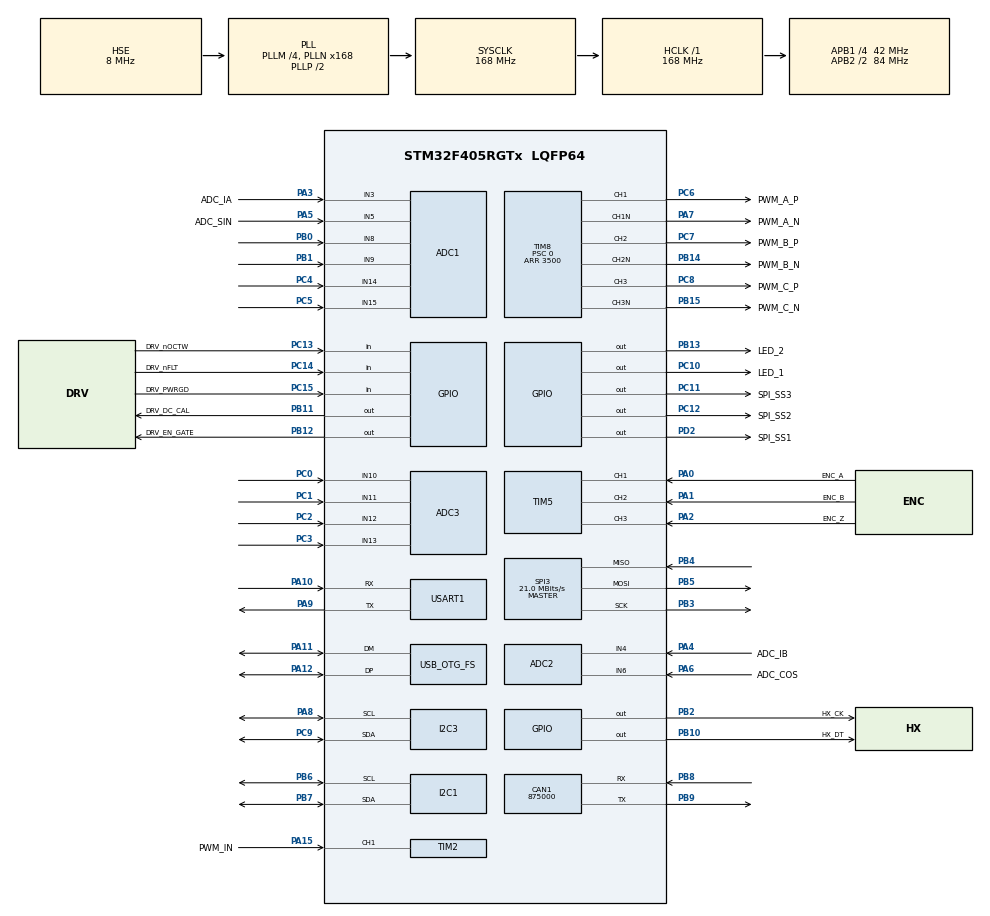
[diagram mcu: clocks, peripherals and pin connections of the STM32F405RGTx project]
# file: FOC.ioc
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ADC1.Channel-2\#ChannelRegularConversion=ADC_CHANNEL_3
ADC1.ExternalTrigConv=ADC_EXTERNALTRIGCONV_T8_TRGO
ADC1.NbrOfConversionFlag=1
ADC1.Rank-2\#ChannelRegularConversion=1
ADC1.SamplingTime-2\#ChannelRegularConversion=ADC_SAMPLETIME_3CYCLES
ADC1.master=1
ADC2.Channel-1\#ChannelRegularConversion=ADC_CHANNEL_6
ADC2.ExternalTrigConv=ADC_EXTERNALTRIGCONV_T8_TRGO
ADC2.NbrOfConversionFlag=1
ADC2.Rank-1\#ChannelRegularConversion=1
ADC2.SamplingTime-1\#ChannelRegularConversion=ADC_SAMPLETIME_3CYCLES
ADC3.Channel-1\#ChannelRegularConversion=ADC_CHANNEL_10
ADC3.NbrOfConversionFlag=1
ADC3.Rank-1\#ChannelRegularConversion=1
ADC3.SamplingTime-1\#ChannelRegularConversion=ADC_SAMPLETIME_3CYCLES
CAN1.CalculateBaudRate=875000
CAN1.CalculateTimeBit=1142
CAN1.CalculateTimeQuantum=380.95238095238096
Dma.Request0=USART1_RX
Dma.Request1=USART1_TX
Dma.USART1_RX.0.Direction=DMA_PERIPH_TO_MEMORY
Dma.USART1_RX.0.FIFOMode=DMA_FIFOMODE_DISABLE
Dma.USART1_RX.0.Instance=DMA2_Stream2
Dma.USART1_RX.0.MemDataAlignment=DMA_MDATAALIGN_BYTE
Dma.USART1_RX.0.MemInc=DMA_MINC_ENABLE
Dma.USART1_RX.0.Mode=DMA_NORMAL
Dma.USART1_RX.0.PeriphDataAlignment=DMA_PDATAALIGN_BYTE
Dma.USART1_RX.0.PeriphInc=DMA_PINC_DISABLE
Dma.USART1_RX.0.Priority=DMA_PRIORITY_LOW
Dma.USART1_TX.1.Direction=DMA_MEMORY_TO_PERIPH
Dma.USART1_TX.1.FIFOMode=DMA_FIFOMODE_DISABLE
Dma.USART1_TX.1.Instance=DMA2_Stream7
Dma.USART1_TX.1.MemDataAlignment=DMA_MDATAALIGN_BYTE
Dma.USART1_TX.1.MemInc=DMA_MINC_ENABLE
Dma.USART1_TX.1.Mode=DMA_NORMAL
Dma.USART1_TX.1.PeriphDataAlignment=DMA_PDATAALIGN_BYTE
Dma.USART1_TX.1.PeriphInc=DMA_PINC_DISABLE
Dma.USART1_TX.1.Priority=DMA_PRIORITY_LOW
Mcu.Family=STM32F4
Mcu.Name=STM32F405RGTx
Mcu.Package=LQFP64
NVIC.DMA2_Stream2_IRQn=true\:0\:0\:false\:false\:true\:false\:true\:true
NVIC.DMA2_Stream7_IRQn=true\:0\:0\:false\:false\:true\:false\:true\:true
NVIC.PriorityGroup=NVIC_PRIORITYGROUP_4
NVIC.USART1_IRQn=true\:0\:0\:false\:false\:true\:true\:true\:true
PA0-WKUP.GPIO_Label=ENC_A
PA0-WKUP.Signal=S_TIM5_CH1
PA1.GPIO_Label=ENC_B
PA1.Signal=S_TIM5_CH2
PA10.Mode=Asynchronous
PA10.Signal=USART1_RX
PA11.Mode=Device_Only
PA11.Signal=USB_OTG_FS_DM
PA12.Mode=Device_Only
PA12.Signal=USB_OTG_FS_DP
PA13.Mode=Serial_Wire
PA13.Signal=SYS_JTMS-SWDIO
PA14.Mode=Serial_Wire
PA14.Signal=SYS_JTCK-SWCLK
PA15.GPIO_Label=PWM_IN
PA15.Signal=S_TIM2_CH1_ETR
PA2.GPIO_Label=ENC_Z
PA2.Signal=S_TIM5_CH3
PA3.GPIO_Label=ADC_IA
PA3.Signal=ADCx_IN3
PA4.GPIO_Label=ADC_IB
PA4.Signal=ADCx_IN4
PA5.GPIO_Label=ADC_SIN
PA5.Signal=ADCx_IN5
PA6.GPIO_Label=ADC_COS
PA6.Signal=ADCx_IN6
PA7.GPIO_Label=PWM_A_N
PA7.Mode=PWM Generation1 CH1 CH1N
PA7.Signal=TIM8_CH1N
PA8.GPIO_Pu=GPIO_PULLUP
PA8.Mode=I2C
PA8.Signal=I2C3_SCL
PA9.Mode=Asynchronous
PA9.Signal=USART1_TX
PB0.Signal=ADCx_IN8
PB1.Signal=ADCx_IN9
PB10.GPIO_Label=HX_DT
PB10.Signal=GPIO_Output
PB11.GPIO_Label=DRV_DC_CAL
PB11.Signal=GPIO_Output
PB12.GPIO_Label=DRV_EN_GATE
PB12.Signal=GPIO_Output
PB13.GPIO_Label=LED_2
PB13.Signal=GPIO_Output
PB14.GPIO_Label=PWM_B_N
PB14.Mode=PWM Generation2 CH2 CH2N
PB14.Signal=TIM8_CH2N
PB15.GPIO_Label=PWM_C_N
PB15.Mode=PWM Generation3 CH3 CH3N
PB15.Signal=TIM8_CH3N
PB2.GPIO_Label=HX_CK
PB2.Signal=GPIO_Output
PB3.Mode=Full_Duplex_Master
PB3.Signal=SPI3_SCK
PB4.Mode=Full_Duplex_Master
PB4.Signal=SPI3_MISO
PB5.Mode=Full_Duplex_Master
PB5.Signal=SPI3_MOSI
PB6.GPIO_Pu=GPIO_PULLUP
PB6.Mode=I2C
PB6.Signal=I2C1_SCL
PB7.GPIO_Pu=GPIO_PULLUP
PB7.Mode=I2C
PB7.Signal=I2C1_SDA
PB8.Mode=CAN_Activate
PB8.Signal=CAN1_RX
PB9.Mode=CAN_Activate
PB9.Signal=CAN1_TX
PC0.Signal=ADCx_IN10
PC1.Signal=ADCx_IN11
PC10.GPIO_Label=LED_1
PC10.Signal=GPIO_Output
PC11.GPIO_Label=SPI_SS3
PC11.Signal=GPIO_Output
PC12.GPIO_Label=SPI_SS2
PC12.Signal=GPIO_Output
PC13-ANTI_TAMP.GPIO_Label=DRV_nOCTW
PC13-ANTI_TAMP.Signal=GPIO_Input
PC14-OSC32_IN.GPIO_Label=DRV_nFLT
PC14-OSC32_IN.Signal=GPIO_Input
PC15-OSC32_OUT.GPIO_Label=DRV_PWRGD
PC15-OSC32_OUT.Signal=GPIO_Input
PC2.Signal=ADCx_IN12
PC3.Signal=ADCx_IN13
PC4.Signal=ADCx_IN14
PC5.Signal=ADCx_IN15
PC6.GPIO_Label=PWM_A_P
PC6.Signal=S_TIM8_CH1
PC7.GPIO_Label=PWM_B_P
PC7.Signal=S_TIM8_CH2
PC8.GPIO_Label=PWM_C_P
PC8.Signal=S_TIM8_CH3
PC9.GPIO_Pu=GPIO_PULLUP
PC9.Mode=I2C
PC9.Signal=I2C3_SDA
PD2.GPIO_Label=SPI_SS1
PD2.Signal=GPIO_Output
PH0-OSC_IN.Mode=HSE-External-Oscillator
PH0-OSC_IN.Signal=RCC_OSC_IN
PH1-OSC_OUT.Mode=HSE-External-Oscillator
PH1-OSC_OUT.Signal=RCC_OSC_OUT
ProjectManager.HeapSize=0x200
ProjectManager.StackSize=0x400
ProjectManager.TargetToolchain=STM32CubeIDE
RCC.48MHZClocksFreq_Value=48000000
RCC.AHBFreq_Value=168000000
RCC.APB1CLKDivider=RCC_HCLK_DIV4
RCC.APB1Freq_Value=42000000
RCC.APB1TimFreq_Value=84000000
RCC.APB2CLKDivider=RCC_HCLK_DIV2
RCC.APB2Freq_Value=84000000
RCC.APB2TimFreq_Value=168000000
RCC.CortexFreq_Value=168000000
RCC.HCLKFreq_Value=168000000
RCC.HSE_VALUE=8000000
RCC.HSI_VALUE=16000000
RCC.LSE_VALUE=32768
RCC.PLLM=4
RCC.PLLN=168
RCC.PLLQ=7
RCC.SYSCLKFreq_VALUE=168000000
RCC.SYSCLKSource=RCC_SYSCLKSOURCE_PLLCLK
RCC.VCOOutputFreq_Value=336000000
SH.ADCx_IN10.0=ADC3_IN10,IN10
SH.ADCx_IN11.0=ADC3_IN11,IN11
SH.ADCx_IN12.0=ADC3_IN12,IN12
SH.ADCx_IN13.0=ADC3_IN13,IN13
SH.ADCx_IN14.0=ADC1_IN14,IN14
SH.ADCx_IN15.0=ADC1_IN15,IN15
SH.ADCx_IN3.0=ADC1_IN3,IN3
SH.ADCx_IN4.0=ADC2_IN4,IN4
SH.ADCx_IN5.0=ADC1_IN5,IN5
SH.ADCx_IN6.0=ADC2_IN6,IN6
SH.ADCx_IN8.0=ADC1_IN8,IN8
SH.ADCx_IN9.0=ADC1_IN9,IN9
SH.S_TIM2_CH1_ETR.0=TIM2_CH1,Input_Capture1_from_TI1
SH.S_TIM5_CH1.0=TIM5_CH1,Xored_Inputs_Hall_Sensor_Interface
SH.S_TIM5_CH2.0=TIM5_CH2,Xored_Inputs_Hall_Sensor_Interface
SH.S_TIM5_CH3.0=TIM5_CH3,Xored_Inputs_Hall_Sensor_Interface
SH.S_TIM8_CH1.0=TIM8_CH1,PWM Generation1 CH1 CH1N
SH.S_TIM8_CH2.0=TIM8_CH2,PWM Generation2 CH2 CH2N
SH.S_TIM8_CH3.0=TIM8_CH3,PWM Generation3 CH3 CH3N
SPI3.CalculateBaudRate=21.0 MBits/s
SPI3.Direction=SPI_DIRECTION_2LINES
SPI3.Mode=SPI_MODE_MASTER
SPI3.VirtualType=VM_MASTER
TIM2.Channel-Input_Capture1_from_TI1=TIM_CHANNEL_1
TIM2.Period=3500
TIM2.Prescaler=240
TIM6.Period=4999
TIM6.Prescaler=83
TIM6.TIM_MasterOutputTrigger=TIM_TRGO_ENABLE
TIM8.Channel-PWM\ Generation1\ CH1\ CH1N=TIM_CHANNEL_1
TIM8.Channel-PWM\ Generation2\ CH2\ CH2N=TIM_CHANNEL_2
TIM8.Channel-PWM\ Generation3\ CH3\ CH3N=TIM_CHANNEL_3
TIM8.CounterMode=TIM_COUNTERMODE_CENTERALIGNED3
TIM8.OCMode_PWM-PWM\ Generation1\ CH1\ CH1N=TIM_OCMODE_PWM2
TIM8.OCMode_PWM-PWM\ Generation2\ CH2\ CH2N=TIM_OCMODE_PWM2
TIM8.OCMode_PWM-PWM\ Generation3\ CH3\ CH3N=TIM_OCMODE_PWM2
TIM8.Period=3500
TIM8.Prescaler=0
TIM8.RepetitionCounter=2
TIM8.TIM_MasterOutputTrigger=TIM_TRGO_UPDATE
TIM8.TIM_MasterSlaveMode=TIM_MASTERSLAVEMODE_ENABLE
USART1.VirtualMode=VM_ASYNC
USB_OTG_FS.VirtualMode=Device_Only
VP_TIM1_VS_ClockSourceINT.Mode=Internal
VP_TIM2_VS_ClockSourceINT.Mode=Internal
VP_TIM6_VS_ClockSourceINT.Mode=Enable_Timer
VP_TIM8_VS_ClockSourceINT.Mode=Internal
board=custom

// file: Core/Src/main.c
/* USER CODE BEGIN Header */
/**
 ******************************************************************************
 * @file           : main.c
 * @brief          : Main program body
 ******************************************************************************
 * @attention
 *
 * <h2><center>&copy; Copyright (c) 2024 STMicroelectronics.
 * All rights reserved.</center></h2>
 *
 * This software component is licensed by ST under BSD 3-Clause license,
 * the "License"; You may not use this file except in compliance with the
 * License. You may obtain a copy of the License at:
 *                        opensource.org/licenses/BSD-3-Clause
 *
 ******************************************************************************
 */
/* USER CODE END Header */
#include "main.h"

ADC_HandleTypeDef hadc1;
ADC_HandleTypeDef hadc2;
ADC_HandleTypeDef hadc3;

CAN_HandleTypeDef hcan1;

I2C_HandleTypeDef hi2c1;
I2C_HandleTypeDef hi2c3;

SPI_HandleTypeDef hspi3;

TIM_HandleTypeDef htim1;
TIM_HandleTypeDef htim2;
TIM_HandleTypeDef htim5;
TIM_HandleTypeDef htim6;
TIM_HandleTypeDef htim8;

UART_HandleTypeDef huart1;
DMA_HandleTypeDef hdma_usart1_rx;
DMA_HandleTypeDef hdma_usart1_tx;

PCD_HandleTypeDef hpcd_USB_OTG_FS;

void SystemClock_Config(void);
static void MX_GPIO_Init(void);
static void MX_DMA_Init(void);
static void MX_TIM1_Init(void);
static void MX_ADC1_Init(void);
static void MX_ADC2_Init(void);
static void MX_ADC3_Init(void);
static void MX_CAN1_Init(void);
static void MX_I2C1_Init(void);
static void MX_I2C3_Init(void);
static void MX_SPI3_Init(void);
static void MX_TIM2_Init(void);
static void MX_TIM5_Init(void);
static void MX_TIM8_Init(void);
static void MX_USART1_UART_Init(void);
static void MX_USB_OTG_FS_PCD_Init(void);
static void MX_TIM6_Init(void);

int main(void)
{

  /* USER CODE BEGIN 1 */
	//PC 13 WAS CONFIGURED AS GPIO INPUT (DRV_nOCTW) CHANGED TO BE USED  FOR TESTING
  /* USER CODE END 1 */

  /* MCU Configuration--------------------------------------------------------*/

  /* Reset of all peripherals, Initializes the Flash interface and the Systick. */
  HAL_Init();

  /* Configure the system clock */
  SystemClock_Config();

  /* Initialize all configured peripherals */
  MX_GPIO_Init();
  MX_DMA_Init();
  MX_TIM1_Init();
  MX_ADC1_Init();
  MX_ADC2_Init();
  MX_ADC3_Init();
  MX_CAN1_Init();
  MX_I2C1_Init();
  MX_I2C3_Init();
  MX_SPI3_Init();
  MX_TIM2_Init();
  MX_TIM5_Init();
  MX_TIM8_Init();
  MX_USART1_UART_Init();
  MX_USB_OTG_FS_PCD_Init();
  MX_TIM6_Init();
  /* USER CODE BEGIN 2 */
	/* Start PWM channels and their complementary outputs */
		if (HAL_TIM_PWM_Start(&htim8, TIM_CHANNEL_1) != HAL_OK) { Error_Handler(); }
		if (HAL_TIMEx_PWMN_Start(&htim8, TIM_CHANNEL_1) != HAL_OK) { Error_Handler(); }

		if (HAL_TIM_PWM_Start(&htim8, TIM_CHANNEL_2) != HAL_OK) { Error_Handler(); }
		if (HAL_TIMEx_PWMN_Start(&htim8, TIM_CHANNEL_2) != HAL_OK) { Error_Handler(); }

		if (HAL_TIM_PWM_Start(&htim8, TIM_CHANNEL_3) != HAL_OK) { Error_Handler(); }
		if (HAL_TIMEx_PWMN_Start(&htim8, TIM_CHANNEL_3) != HAL_OK) { Error_Handler(); }

		if (HAL_TIM_PWM_Start(&htim2, TIM_CHANNEL_1) != HAL_OK) { Error_Handler(); }
		/* Example FOC loop - update PWM duty cycles */
		uint32_t dutyA = 500;
		uint32_t dutyB = 500;
		uint32_t dutyC = 500;
  /* USER CODE END 2 */

  /* Infinite loop */
	while (1)
	{

    /* USER CODE BEGIN 3 */

		dutyA = (dutyA ) % 1000;
		dutyB = (dutyB ) % 1000;
		dutyC = (dutyC ) % 1000;

		/* Update PWM compare registers */
		__HAL_TIM_SET_COMPARE(&htim8, TIM_CHANNEL_1, dutyA);
		__HAL_TIM_SET_COMPARE(&htim8, TIM_CHANNEL_2, dutyB);
		__HAL_TIM_SET_COMPARE(&htim8, TIM_CHANNEL_3, dutyC);

	}
  /* USER CODE END 3 */
}

void SystemClock_Config(void)
{
  RCC_OscInitTypeDef RCC_OscInitStruct = {0};
  RCC_ClkInitTypeDef RCC_ClkInitStruct = {0};

  /** Configure the main internal regulator output voltage
  */
  __HAL_RCC_PWR_CLK_ENABLE();
  __HAL_PWR_VOLTAGESCALING_CONFIG(PWR_REGULATOR_VOLTAGE_SCALE1);

  /** Initializes the RCC Oscillators according to the specified parameters
  * in the RCC_OscInitTypeDef structure.
  */
  RCC_OscInitStruct.OscillatorType = RCC_OSCILLATORTYPE_HSE;
  RCC_OscInitStruct.HSEState = RCC_HSE_ON;
  RCC_OscInitStruct.PLL.PLLState = RCC_PLL_ON;
  RCC_OscInitStruct.PLL.PLLSource = RCC_PLLSOURCE_HSE;
  RCC_OscInitStruct.PLL.PLLM = 4;
  RCC_OscInitStruct.PLL.PLLN = 168;
  RCC_OscInitStruct.PLL.PLLP = RCC_PLLP_DIV2;
  RCC_OscInitStruct.PLL.PLLQ = 7;
  if (HAL_RCC_OscConfig(&RCC_OscInitStruct) != HAL_OK)
  {
    Error_Handler();
  }

  /** Initializes the CPU, AHB and APB buses clocks
  */
  RCC_ClkInitStruct.ClockType = RCC_CLOCKTYPE_HCLK|RCC_CLOCKTYPE_SYSCLK
                              |RCC_CLOCKTYPE_PCLK1|RCC_CLOCKTYPE_PCLK2;
  RCC_ClkInitStruct.SYSCLKSource = RCC_SYSCLKSOURCE_PLLCLK;
  RCC_ClkInitStruct.AHBCLKDivider = RCC_SYSCLK_DIV1;
  RCC_ClkInitStruct.APB1CLKDivider = RCC_HCLK_DIV4;
  RCC_ClkInitStruct.APB2CLKDivider = RCC_HCLK_DIV2;

  if (HAL_RCC_ClockConfig(&RCC_ClkInitStruct, FLASH_LATENCY_5) != HAL_OK)
  {
    Error_Handler();
  }
}

static void MX_ADC1_Init(void)
{

  ADC_ChannelConfTypeDef sConfig = {0};

  /** Configure the global features of the ADC (Clock, Resolution, Data Alignment and number of conversion)
  */
  hadc1.Instance = ADC1;
  hadc1.Init.ClockPrescaler = ADC_CLOCK_SYNC_PCLK_DIV4;
  hadc1.Init.Resolution = ADC_RESOLUTION_12B;
  hadc1.Init.ScanConvMode = DISABLE;
  hadc1.Init.ContinuousConvMode = DISABLE;
  hadc1.Init.DiscontinuousConvMode = DISABLE;
  hadc1.Init.ExternalTrigConvEdge = ADC_EXTERNALTRIGCONVEDGE_RISING;
  hadc1.Init.ExternalTrigConv = ADC_EXTERNALTRIGCONV_T8_TRGO;
  hadc1.Init.DataAlign = ADC_DATAALIGN_RIGHT;
  hadc1.Init.NbrOfConversion = 1;
  hadc1.Init.DMAContinuousRequests = DISABLE;
  hadc1.Init.EOCSelection = ADC_EOC_SINGLE_CONV;
  if (HAL_ADC_Init(&hadc1) != HAL_OK)
  {
    Error_Handler();
  }

  /** Configure for the selected ADC regular channel its corresponding rank in the sequencer and its sample time.
  */
  sConfig.Channel = ADC_CHANNEL_3;
  sConfig.Rank = 1;
  sConfig.SamplingTime = ADC_SAMPLETIME_3CYCLES;
  if (HAL_ADC_ConfigChannel(&hadc1, &sConfig) != HAL_OK)
  {
    Error_Handler();
  }

}

static void MX_ADC2_Init(void)
{

  ADC_ChannelConfTypeDef sConfig = {0};

  /** Configure the global features of the ADC (Clock, Resolution, Data Alignment and number of conversion)
  */
  hadc2.Instance = ADC2;
  hadc2.Init.ClockPrescaler = ADC_CLOCK_SYNC_PCLK_DIV4;
  hadc2.Init.Resolution = ADC_RESOLUTION_12B;
  hadc2.Init.ScanConvMode = DISABLE;
  hadc2.Init.ContinuousConvMode = DISABLE;
  hadc2.Init.DiscontinuousConvMode = DISABLE;
  hadc2.Init.ExternalTrigConvEdge = ADC_EXTERNALTRIGCONVEDGE_RISING;
  hadc2.Init.ExternalTrigConv = ADC_EXTERNALTRIGCONV_T8_TRGO;
  hadc2.Init.DataAlign = ADC_DATAALIGN_RIGHT;
  hadc2.Init.NbrOfConversion = 1;
  hadc2.Init.DMAContinuousRequests = DISABLE;
  hadc2.Init.EOCSelection = ADC_EOC_SINGLE_CONV;
  if (HAL_ADC_Init(&hadc2) != HAL_OK)
  {
    Error_Handler();
  }

  /** Configure for the selected ADC regular channel its corresponding rank in the sequencer and its sample time.
  */
  sConfig.Channel = ADC_CHANNEL_6;
  sConfig.Rank = 1;
  sConfig.SamplingTime = ADC_SAMPLETIME_3CYCLES;
  if (HAL_ADC_ConfigChannel(&hadc2, &sConfig) != HAL_OK)
  {
    Error_Handler();
  }

}

static void MX_ADC3_Init(void)
{

  ADC_ChannelConfTypeDef sConfig = {0};

  /** Configure the global features of the ADC (Clock, Resolution, Data Alignment and number of conversion)
  */
  hadc3.Instance = ADC3;
  hadc3.Init.ClockPrescaler = ADC_CLOCK_SYNC_PCLK_DIV4;
  hadc3.Init.Resolution = ADC_RESOLUTION_12B;
  hadc3.Init.ScanConvMode = DISABLE;
  hadc3.Init.ContinuousConvMode = DISABLE;
  hadc3.Init.DiscontinuousConvMode = DISABLE;
  hadc3.Init.ExternalTrigConvEdge = ADC_EXTERNALTRIGCONVEDGE_NONE;
  hadc3.Init.ExternalTrigConv = ADC_SOFTWARE_START;
  hadc3.Init.DataAlign = ADC_DATAALIGN_RIGHT;
  hadc3.Init.NbrOfConversion = 1;
  hadc3.Init.DMAContinuousRequests = DISABLE;
  hadc3.Init.EOCSelection = ADC_EOC_SINGLE_CONV;
  if (HAL_ADC_Init(&hadc3) != HAL_OK)
  {
    Error_Handler();
  }

  /** Configure for the selected ADC regular channel its corresponding rank in the sequencer and its sample time.
  */
  sConfig.Channel = ADC_CHANNEL_10;
  sConfig.Rank = 1;
  sConfig.SamplingTime = ADC_SAMPLETIME_3CYCLES;
  if (HAL_ADC_ConfigChannel(&hadc3, &sConfig) != HAL_OK)
  {
    Error_Handler();
  }

}

static void MX_CAN1_Init(void)
{

  hcan1.Instance = CAN1;
  hcan1.Init.Prescaler = 16;
  hcan1.Init.Mode = CAN_MODE_NORMAL;
  hcan1.Init.SyncJumpWidth = CAN_SJW_1TQ;
  hcan1.Init.TimeSeg1 = CAN_BS1_1TQ;
  hcan1.Init.TimeSeg2 = CAN_BS2_1TQ;
  hcan1.Init.TimeTriggeredMode = DISABLE;
  hcan1.Init.AutoBusOff = DISABLE;
  hcan1.Init.AutoWakeUp = DISABLE;
  hcan1.Init.AutoRetransmission = DISABLE;
  hcan1.Init.ReceiveFifoLocked = DISABLE;
  hcan1.Init.TransmitFifoPriority = DISABLE;
  if (HAL_CAN_Init(&hcan1) != HAL_OK)
  {
    Error_Handler();
  }

}

static void MX_I2C1_Init(void)
{

  hi2c1.Instance = I2C1;
  hi2c1.Init.ClockSpeed = 100000;
  hi2c1.Init.DutyCycle = I2C_DUTYCYCLE_2;
  hi2c1.Init.OwnAddress1 = 0;
  hi2c1.Init.AddressingMode = I2C_ADDRESSINGMODE_7BIT;
  hi2c1.Init.DualAddressMode = I2C_DUALADDRESS_DISABLE;
  hi2c1.Init.OwnAddress2 = 0;
  hi2c1.Init.GeneralCallMode = I2C_GENERALCALL_DISABLE;
  hi2c1.Init.NoStretchMode = I2C_NOSTRETCH_DISABLE;
  if (HAL_I2C_Init(&hi2c1) != HAL_OK)
  {
    Error_Handler();
  }

}

static void MX_I2C3_Init(void)
{

  hi2c3.Instance = I2C3;
  hi2c3.Init.ClockSpeed = 100000;
  hi2c3.Init.DutyCycle = I2C_DUTYCYCLE_2;
  hi2c3.Init.OwnAddress1 = 0;
  hi2c3.Init.AddressingMode = I2C_ADDRESSINGMODE_7BIT;
  hi2c3.Init.DualAddressMode = I2C_DUALADDRESS_DISABLE;
  hi2c3.Init.OwnAddress2 = 0;
  hi2c3.Init.GeneralCallMode = I2C_GENERALCALL_DISABLE;
  hi2c3.Init.NoStretchMode = I2C_NOSTRETCH_DISABLE;
  if (HAL_I2C_Init(&hi2c3) != HAL_OK)
  {
    Error_Handler();
  }

}

static void MX_SPI3_Init(void)
{

  /* SPI3 parameter configuration*/
  hspi3.Instance = SPI3;
  hspi3.Init.Mode = SPI_MODE_MASTER;
  hspi3.Init.Direction = SPI_DIRECTION_2LINES;
  hspi3.Init.DataSize = SPI_DATASIZE_8BIT;
  hspi3.Init.CLKPolarity = SPI_POLARITY_LOW;
  hspi3.Init.CLKPhase = SPI_PHASE_1EDGE;
  hspi3.Init.NSS = SPI_NSS_SOFT;
  hspi3.Init.BaudRatePrescaler = SPI_BAUDRATEPRESCALER_2;
  hspi3.Init.FirstBit = SPI_FIRSTBIT_MSB;
  hspi3.Init.TIMode = SPI_TIMODE_DISABLE;
  hspi3.Init.CRCCalculation = SPI_CRCCALCULATION_DISABLE;
  hspi3.Init.CRCPolynomial = 10;
  if (HAL_SPI_Init(&hspi3) != HAL_OK)
  {
    Error_Handler();
  }

}

static void MX_TIM1_Init(void)
{

  TIM_ClockConfigTypeDef sClockSourceConfig = {0};
  TIM_MasterConfigTypeDef sMasterConfig = {0};

  htim1.Instance = TIM1;
  htim1.Init.Prescaler = 0;
  htim1.Init.CounterMode = TIM_COUNTERMODE_UP;
  htim1.Init.Period = 65535;
  htim1.Init.ClockDivision = TIM_CLOCKDIVISION_DIV1;
  htim1.Init.RepetitionCounter = 0;
  htim1.Init.AutoReloadPreload = TIM_AUTORELOAD_PRELOAD_DISABLE;
  if (HAL_TIM_Base_Init(&htim1) != HAL_OK)
  {
    Error_Handler();
  }
  sClockSourceConfig.ClockSource = TIM_CLOCKSOURCE_INTERNAL;
  if (HAL_TIM_ConfigClockSource(&htim1, &sClockSourceConfig) != HAL_OK)
  {
    Error_Handler();
  }
  sMasterConfig.MasterOutputTrigger = TIM_TRGO_RESET;
  sMasterConfig.MasterSlaveMode = TIM_MASTERSLAVEMODE_DISABLE;
  if (HAL_TIMEx_MasterConfigSynchronization(&htim1, &sMasterConfig) != HAL_OK)
  {
    Error_Handler();
  }

}

static void MX_TIM2_Init(void)
{

  TIM_ClockConfigTypeDef sClockSourceConfig = {0};
  TIM_MasterConfigTypeDef sMasterConfig = {0};
  TIM_IC_InitTypeDef sConfigIC = {0};

  htim2.Instance = TIM2;
  htim2.Init.Prescaler = 240;
  htim2.Init.CounterMode = TIM_COUNTERMODE_UP;
  htim2.Init.Period = 3500;
  htim2.Init.ClockDivision = TIM_CLOCKDIVISION_DIV1;
  htim2.Init.AutoReloadPreload = TIM_AUTORELOAD_PRELOAD_DISABLE;
  if (HAL_TIM_Base_Init(&htim2) != HAL_OK)
  {
    Error_Handler();
  }
  sClockSourceConfig.ClockSource = TIM_CLOCKSOURCE_INTERNAL;
  if (HAL_TIM_ConfigClockSource(&htim2, &sClockSourceConfig) != HAL_OK)
  {
    Error_Handler();
  }
  if (HAL_TIM_IC_Init(&htim2) != HAL_OK)
  {
    Error_Handler();
  }
  sMasterConfig.MasterOutputTrigger = TIM_TRGO_RESET;
  sMasterConfig.MasterSlaveMode = TIM_MASTERSLAVEMODE_DISABLE;
  if (HAL_TIMEx_MasterConfigSynchronization(&htim2, &sMasterConfig) != HAL_OK)
  {
    Error_Handler();
  }
  sConfigIC.ICPolarity = TIM_INPUTCHANNELPOLARITY_RISING;
  sConfigIC.ICSelection = TIM_ICSELECTION_DIRECTTI;
  sConfigIC.ICPrescaler = TIM_ICPSC_DIV1;
  sConfigIC.ICFilter = 0;
  if (HAL_TIM_IC_ConfigChannel(&htim2, &sConfigIC, TIM_CHANNEL_1) != HAL_OK)
  {
    Error_Handler();
  }

}

static void MX_TIM5_Init(void)
{

  TIM_HallSensor_InitTypeDef sConfig = {0};
  TIM_MasterConfigTypeDef sMasterConfig = {0};

  htim5.Instance = TIM5;
  htim5.Init.Prescaler = 0;
  htim5.Init.CounterMode = TIM_COUNTERMODE_UP;
  htim5.Init.Period = 4294967295;
  htim5.Init.ClockDivision = TIM_CLOCKDIVISION_DIV1;
  htim5.Init.AutoReloadPreload = TIM_AUTORELOAD_PRELOAD_DISABLE;
  sConfig.IC1Polarity = TIM_ICPOLARITY_RISING;
  sConfig.IC1Prescaler = TIM_ICPSC_DIV1;
  sConfig.IC1Filter = 0;
  sConfig.Commutation_Delay = 0;
  if (HAL_TIMEx_HallSensor_Init(&htim5, &sConfig) != HAL_OK)
  {
    Error_Handler();
  }
  sMasterConfig.MasterOutputTrigger = TIM_TRGO_OC2REF;
  sMasterConfig.MasterSlaveMode = TIM_MASTERSLAVEMODE_DISABLE;
  if (HAL_TIMEx_MasterConfigSynchronization(&htim5, &sMasterConfig) != HAL_OK)
  {
    Error_Handler();
  }

}

static void MX_TIM6_Init(void)
{

  TIM_MasterConfigTypeDef sMasterConfig = {0};

  htim6.Instance = TIM6;
  htim6.Init.Prescaler = 83;
  htim6.Init.CounterMode = TIM_COUNTERMODE_UP;
  htim6.Init.Period = 4999;
  htim6.Init.AutoReloadPreload = TIM_AUTORELOAD_PRELOAD_DISABLE;
  if (HAL_TIM_Base_Init(&htim6) != HAL_OK)
  {
    Error_Handler();
  }
  sMasterConfig.MasterOutputTrigger = TIM_TRGO_ENABLE;
  sMasterConfig.MasterSlaveMode = TIM_MASTERSLAVEMODE_DISABLE;
  if (HAL_TIMEx_MasterConfigSynchronization(&htim6, &sMasterConfig) != HAL_OK)
  {
    Error_Handler();
  }

}

static void MX_TIM8_Init(void)
{

  TIM_ClockConfigTypeDef sClockSourceConfig = {0};
  TIM_MasterConfigTypeDef sMasterConfig = {0};
  TIM_OC_InitTypeDef sConfigOC = {0};
  TIM_BreakDeadTimeConfigTypeDef sBreakDeadTimeConfig = {0};

  htim8.Instance = TIM8;
  htim8.Init.Prescaler = 0;
  htim8.Init.CounterMode = TIM_COUNTERMODE_CENTERALIGNED3;
  htim8.Init.Period = 3500;
  htim8.Init.ClockDivision = TIM_CLOCKDIVISION_DIV1;
  htim8.Init.RepetitionCounter = 2;
  htim8.Init.AutoReloadPreload = TIM_AUTORELOAD_PRELOAD_DISABLE;
  if (HAL_TIM_Base_Init(&htim8) != HAL_OK)
  {
    Error_Handler();
  }
  sClockSourceConfig.ClockSource = TIM_CLOCKSOURCE_INTERNAL;
  if (HAL_TIM_ConfigClockSource(&htim8, &sClockSourceConfig) != HAL_OK)
  {
    Error_Handler();
  }
  if (HAL_TIM_PWM_Init(&htim8) != HAL_OK)
  {
    Error_Handler();
  }
  sMasterConfig.MasterOutputTrigger = TIM_TRGO_UPDATE;
  sMasterConfig.MasterSlaveMode = TIM_MASTERSLAVEMODE_ENABLE;
  if (HAL_TIMEx_MasterConfigSynchronization(&htim8, &sMasterConfig) != HAL_OK)
  {
    Error_Handler();
  }
  sConfigOC.OCMode = TIM_OCMODE_PWM2;
  sConfigOC.Pulse = 0;
  sConfigOC.OCPolarity = TIM_OCPOLARITY_HIGH;
  sConfigOC.OCNPolarity = TIM_OCNPOLARITY_HIGH;
  sConfigOC.OCFastMode = TIM_OCFAST_DISABLE;
  sConfigOC.OCIdleState = TIM_OCIDLESTATE_RESET;
  sConfigOC.OCNIdleState = TIM_OCNIDLESTATE_RESET;
  if (HAL_TIM_PWM_ConfigChannel(&htim8, &sConfigOC, TIM_CHANNEL_1) != HAL_OK)
  {
    Error_Handler();
  }
  if (HAL_TIM_PWM_ConfigChannel(&htim8, &sConfigOC, TIM_CHANNEL_2) != HAL_OK)
  {
    Error_Handler();
  }
  if (HAL_TIM_PWM_ConfigChannel(&htim8, &sConfigOC, TIM_CHANNEL_3) != HAL_OK)
  {
    Error_Handler();
  }
  sBreakDeadTimeConfig.OffStateRunMode = TIM_OSSR_DISABLE;
  sBreakDeadTimeConfig.OffStateIDLEMode = TIM_OSSI_DISABLE;
  sBreakDeadTimeConfig.LockLevel = TIM_LOCKLEVEL_OFF;
  sBreakDeadTimeConfig.DeadTime = 0;
  sBreakDeadTimeConfig.BreakState = TIM_BREAK_DISABLE;
  sBreakDeadTimeConfig.BreakPolarity = TIM_BREAKPOLARITY_HIGH;
  sBreakDeadTimeConfig.AutomaticOutput = TIM_AUTOMATICOUTPUT_DISABLE;
  if (HAL_TIMEx_ConfigBreakDeadTime(&htim8, &sBreakDeadTimeConfig) != HAL_OK)
  {
    Error_Handler();
  }
  HAL_TIM_MspPostInit(&htim8);

}

static void MX_USART1_UART_Init(void)
{

  huart1.Instance = USART1;
  huart1.Init.BaudRate = 115200;
  huart1.Init.WordLength = UART_WORDLENGTH_8B;
  huart1.Init.StopBits = UART_STOPBITS_1;
  huart1.Init.Parity = UART_PARITY_NONE;
  huart1.Init.Mode = UART_MODE_TX_RX;
  huart1.Init.HwFlowCtl = UART_HWCONTROL_NONE;
  huart1.Init.OverSampling = UART_OVERSAMPLING_16;
  if (HAL_UART_Init(&huart1) != HAL_OK)
  {
    Error_Handler();
  }

}

static void MX_USB_OTG_FS_PCD_Init(void)
{

  hpcd_USB_OTG_FS.Instance = USB_OTG_FS;
  hpcd_USB_OTG_FS.Init.dev_endpoints = 4;
  hpcd_USB_OTG_FS.Init.speed = PCD_SPEED_FULL;
  hpcd_USB_OTG_FS.Init.dma_enable = DISABLE;
  hpcd_USB_OTG_FS.Init.phy_itface = PCD_PHY_EMBEDDED;
  hpcd_USB_OTG_FS.Init.Sof_enable = DISABLE;
  hpcd_USB_OTG_FS.Init.low_power_enable = DISABLE;
  hpcd_USB_OTG_FS.Init.lpm_enable = DISABLE;
  hpcd_USB_OTG_FS.Init.vbus_sensing_enable = DISABLE;
  hpcd_USB_OTG_FS.Init.use_dedicated_ep1 = DISABLE;
  if (HAL_PCD_Init(&hpcd_USB_OTG_FS) != HAL_OK)
  {
    Error_Handler();
  }

}

static void MX_DMA_Init(void)
{

  /* DMA controller clock enable */
  __HAL_RCC_DMA2_CLK_ENABLE();

  /* DMA interrupt init */
  /* DMA2_Stream2_IRQn interrupt configuration */
  HAL_NVIC_SetPriority(DMA2_Stream2_IRQn, 0, 0);
  HAL_NVIC_EnableIRQ(DMA2_Stream2_IRQn);
  /* DMA2_Stream7_IRQn interrupt configuration */
  HAL_NVIC_SetPriority(DMA2_Stream7_IRQn, 0, 0);
  HAL_NVIC_EnableIRQ(DMA2_Stream7_IRQn);

}

static void MX_GPIO_Init(void)
{
  GPIO_InitTypeDef GPIO_InitStruct = {0};

  /* GPIO Ports Clock Enable */
  __HAL_RCC_GPIOC_CLK_ENABLE();
  __HAL_RCC_GPIOH_CLK_ENABLE();
  __HAL_RCC_GPIOA_CLK_ENABLE();
  __HAL_RCC_GPIOB_CLK_ENABLE();
  __HAL_RCC_GPIOD_CLK_ENABLE();

  /*Configure GPIO pin Output Level */
  HAL_GPIO_WritePin(GPIOB, HX_CK_Pin|HX_DT_Pin|DRV_DC_CAL_Pin|DRV_EN_GATE_Pin
                          |LED_2_Pin, GPIO_PIN_RESET);

  /*Configure GPIO pin Output Level */
  HAL_GPIO_WritePin(GPIOC, LED_1_Pin|SPI_SS3_Pin|SPI_SS2_Pin, GPIO_PIN_RESET);

  /*Configure GPIO pin Output Level */
  HAL_GPIO_WritePin(SPI_SS1_GPIO_Port, SPI_SS1_Pin, GPIO_PIN_RESET);

  /*Configure GPIO pins : DRV_nOCTW_Pin DRV_nFLT_Pin DRV_PWRGD_Pin */
  GPIO_InitStruct.Pin = DRV_nOCTW_Pin|DRV_nFLT_Pin|DRV_PWRGD_Pin;
  GPIO_InitStruct.Mode = GPIO_MODE_INPUT;
  GPIO_InitStruct.Pull = GPIO_NOPULL;
  HAL_GPIO_Init(GPIOC, &GPIO_InitStruct);

  /*Configure GPIO pins : HX_CK_Pin HX_DT_Pin DRV_DC_CAL_Pin DRV_EN_GATE_Pin
                           LED_2_Pin */
  GPIO_InitStruct.Pin = HX_CK_Pin|HX_DT_Pin|DRV_DC_CAL_Pin|DRV_EN_GATE_Pin
                          |LED_2_Pin;
  GPIO_InitStruct.Mode = GPIO_MODE_OUTPUT_PP;
  GPIO_InitStruct.Pull = GPIO_NOPULL;
  GPIO_InitStruct.Speed = GPIO_SPEED_FREQ_LOW;
  HAL_GPIO_Init(GPIOB, &GPIO_InitStruct);

  /*Configure GPIO pins : LED_1_Pin SPI_SS3_Pin SPI_SS2_Pin */
  GPIO_InitStruct.Pin = LED_1_Pin|SPI_SS3_Pin|SPI_SS2_Pin;
  GPIO_InitStruct.Mode = GPIO_MODE_OUTPUT_PP;
  GPIO_InitStruct.Pull = GPIO_NOPULL;
  GPIO_InitStruct.Speed = GPIO_SPEED_FREQ_LOW;
  HAL_GPIO_Init(GPIOC, &GPIO_InitStruct);

  /*Configure GPIO pin : SPI_SS1_Pin */
  GPIO_InitStruct.Pin = SPI_SS1_Pin;
  GPIO_InitStruct.Mode = GPIO_MODE_OUTPUT_PP;
  GPIO_InitStruct.Pull = GPIO_NOPULL;
  GPIO_InitStruct.Speed = GPIO_SPEED_FREQ_LOW;
  HAL_GPIO_Init(SPI_SS1_GPIO_Port, &GPIO_InitStruct);

}

/* USER CODE BEGIN 4 */
/**
  * @brief  Period elapsed callback in non blocking mode.
  *         This function is called when TIM6 overflows (every 5 ms).
  * @param  htim : TIM handle
  * @retval None
  */
void HAL_TIM_PeriodElapsedCallback(TIM_HandleTypeDef *htim)
{
  if (htim->Instance == TIM6)
  {
	 // PI_Eval  //  PI_Eval called here every 5ms
  }
}
/* USER CODE END 4 */

void Error_Handler(void)
{
}
